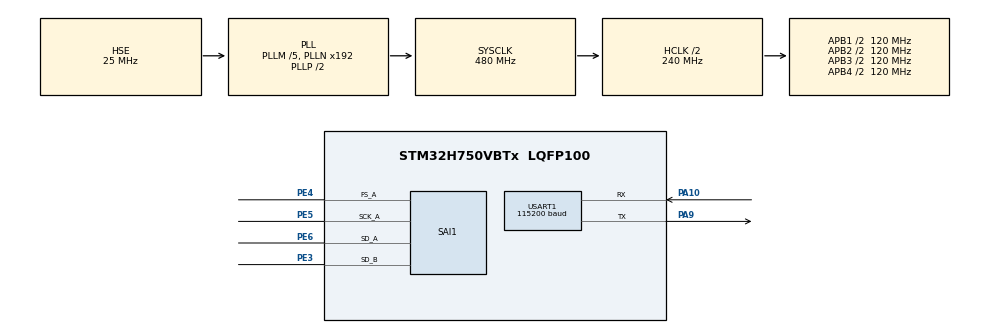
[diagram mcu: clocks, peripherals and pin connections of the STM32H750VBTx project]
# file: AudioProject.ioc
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CORTEX_M7.default_mode_Activation=1
Dma.Request0=SAI1_A
Dma.Request1=SAI1_B
Dma.Request2=USART1_TX
Dma.SAI1_A.0.Direction=DMA_MEMORY_TO_PERIPH
Dma.SAI1_A.0.EventEnable=DISABLE
Dma.SAI1_A.0.FIFOMode=DMA_FIFOMODE_DISABLE
Dma.SAI1_A.0.Instance=DMA1_Stream0
Dma.SAI1_A.0.MemDataAlignment=DMA_MDATAALIGN_WORD
Dma.SAI1_A.0.MemInc=DMA_MINC_ENABLE
Dma.SAI1_A.0.Mode=DMA_CIRCULAR
Dma.SAI1_A.0.PeriphDataAlignment=DMA_PDATAALIGN_WORD
Dma.SAI1_A.0.PeriphInc=DMA_PINC_DISABLE
Dma.SAI1_A.0.Polarity=HAL_DMAMUX_REQ_GEN_RISING
Dma.SAI1_A.0.Priority=DMA_PRIORITY_HIGH
Dma.SAI1_A.0.RequestNumber=1
Dma.SAI1_A.0.SignalID=NONE
Dma.SAI1_A.0.SyncEnable=DISABLE
Dma.SAI1_A.0.SyncPolarity=HAL_DMAMUX_SYNC_NO_EVENT
Dma.SAI1_A.0.SyncRequestNumber=1
Dma.SAI1_A.0.SyncSignalID=NONE
Dma.SAI1_B.1.Direction=DMA_PERIPH_TO_MEMORY
Dma.SAI1_B.1.EventEnable=DISABLE
Dma.SAI1_B.1.FIFOMode=DMA_FIFOMODE_DISABLE
Dma.SAI1_B.1.Instance=DMA1_Stream1
Dma.SAI1_B.1.MemDataAlignment=DMA_MDATAALIGN_WORD
Dma.SAI1_B.1.MemInc=DMA_MINC_ENABLE
Dma.SAI1_B.1.Mode=DMA_CIRCULAR
Dma.SAI1_B.1.PeriphDataAlignment=DMA_PDATAALIGN_WORD
Dma.SAI1_B.1.PeriphInc=DMA_PINC_DISABLE
Dma.SAI1_B.1.Polarity=HAL_DMAMUX_REQ_GEN_RISING
Dma.SAI1_B.1.Priority=DMA_PRIORITY_HIGH
Dma.SAI1_B.1.RequestNumber=1
Dma.SAI1_B.1.SignalID=NONE
Dma.SAI1_B.1.SyncEnable=DISABLE
Dma.SAI1_B.1.SyncPolarity=HAL_DMAMUX_SYNC_NO_EVENT
Dma.SAI1_B.1.SyncRequestNumber=1
Dma.SAI1_B.1.SyncSignalID=NONE
Dma.USART1_TX.2.Direction=DMA_MEMORY_TO_PERIPH
Dma.USART1_TX.2.EventEnable=DISABLE
Dma.USART1_TX.2.FIFOMode=DMA_FIFOMODE_DISABLE
Dma.USART1_TX.2.Instance=DMA1_Stream2
Dma.USART1_TX.2.MemDataAlignment=DMA_MDATAALIGN_BYTE
Dma.USART1_TX.2.MemInc=DMA_MINC_ENABLE
Dma.USART1_TX.2.Mode=DMA_NORMAL
Dma.USART1_TX.2.PeriphDataAlignment=DMA_PDATAALIGN_BYTE
Dma.USART1_TX.2.PeriphInc=DMA_PINC_DISABLE
Dma.USART1_TX.2.Polarity=HAL_DMAMUX_REQ_GEN_RISING
Dma.USART1_TX.2.Priority=DMA_PRIORITY_LOW
Dma.USART1_TX.2.RequestNumber=1
Dma.USART1_TX.2.SignalID=NONE
Dma.USART1_TX.2.SyncEnable=DISABLE
Dma.USART1_TX.2.SyncPolarity=HAL_DMAMUX_SYNC_NO_EVENT
Dma.USART1_TX.2.SyncRequestNumber=1
Dma.USART1_TX.2.SyncSignalID=NONE
Mcu.Family=STM32H7
Mcu.Name=STM32H750VBTx
Mcu.Package=LQFP100
NVIC.DMA1_Stream0_IRQn=true\:0\:0\:false\:false\:true\:false\:true\:true
NVIC.DMA1_Stream1_IRQn=true\:0\:0\:false\:false\:true\:false\:true\:true
NVIC.DMA1_Stream2_IRQn=true\:0\:0\:false\:false\:true\:false\:true\:true
NVIC.PriorityGroup=NVIC_PRIORITYGROUP_4
NVIC.SAI1_IRQn=true\:0\:0\:false\:false\:true\:true\:true\:true
NVIC.USART1_IRQn=true\:0\:0\:false\:false\:true\:true\:true\:true
PA10.Mode=Asynchronous
PA10.Signal=USART1_RX
PA9.Mode=Asynchronous
PA9.Signal=USART1_TX
PE3.Mode=SAI_B_SyncSlave
PE3.Signal=SAI1_SD_B
PE4.Mode=SAI_A_Master
PE4.Signal=SAI1_FS_A
PE5.Mode=SAI_A_Master
PE5.Signal=SAI1_SCK_A
PE6.Mode=SAI_A_Master
PE6.Signal=SAI1_SD_A
PH0-OSC_IN\ (PH0).Mode=HSE-External-Oscillator
PH0-OSC_IN\ (PH0).Signal=RCC_OSC_IN
PH1-OSC_OUT\ (PH1).Mode=HSE-External-Oscillator
PH1-OSC_OUT\ (PH1).Signal=RCC_OSC_OUT
ProjectManager.HeapSize=0x200
ProjectManager.StackSize=0x400
ProjectManager.TargetToolchain=STM32CubeIDE
RCC.ADCFreq_Value=50390625
RCC.APB1Freq_Value=120000000
RCC.APB2Freq_Value=120000000
RCC.APB3Freq_Value=120000000
RCC.APB4Freq_Value=120000000
RCC.CortexFreq_Value=480000000
RCC.D1PPRE=RCC_APB3_DIV2
RCC.D2PPRE1=RCC_APB1_DIV2
RCC.D2PPRE2=RCC_APB2_DIV2
RCC.D3PPRE=RCC_APB4_DIV2
RCC.DIVM1=5
RCC.DIVM3=5
RCC.DIVN1=192
RCC.DIVN3=49
RCC.DIVP3=20
RCC.DIVQ1=7
RCC.HCLKFreq_Value=240000000
RCC.HPRE=RCC_HCLK_DIV2
RCC.PLL2FRACN=0
RCC.PLL3FRACN=1245
RCC.PLLFRACN=0
RCC.PLLSourceVirtual=RCC_PLLSOURCE_HSE
RCC.SAI1CLockSelection=RCC_SAI1CLKSOURCE_PLL3
RCC.SYSCLKFreq_VALUE=480000000
RCC.SYSCLKSource=RCC_SYSCLKSOURCE_PLLCLK
RCC.USBFreq_Value=137142857.14285713
SAI1.AudioFrequency-SAI_A_Master=SAI_AUDIO_FREQUENCY_48K
SAI1.BasicDataSize-SAI_A_Master=SAI_PROTOCOL_DATASIZE_24BIT
SAI1.ErrorAudioFreq-SAI_A_Master=0.0 %
SAI1.InitProtocol-SAI_A_Master=Enable
SAI1.InitProtocol-SAI_B_SyncSlave=Enable
SAI1.Instance-SAI_A_Master=SAI$Index_Block_A
SAI1.Instance-SAI_B_SyncSlave=SAI$Index_Block_B
SAI1.MClockEnable=SAI_MASTERCLOCK_DISABLE
SAI1.OutputDrive-SAI_A_Master=SAI_OUTPUTDRIVE_ENABLE
SAI1.RealAudioFreq-SAI_A_Master=47.999 KHz
SAI1.VirtualMode-SAI_A_Master=VM_MASTER
SAI1.VirtualMode-SAI_B_SyncSlave=VM_SLAVE
SAI1.VirtualProtocol-SAI_A_BASIC=VM_BASIC_PROTOCOL
SAI1.VirtualProtocol-SAI_B_BASIC=VM_BASIC_PROTOCOL
USART1.BaudRate=115200
USART1.VirtualMode-Asynchronous=VM_ASYNC
VP_MEMORYMAP_VS_MEMORYMAP.Mode=CurAppReg
VP_SAI1_VP_$IpInstance_SAIA_SAI_BASIC.Mode=SAI_A_BASIC
VP_SAI1_VP_$IpInstance_SAIB_SAI_BASIC.Mode=SAI_B_BASIC
board=custom

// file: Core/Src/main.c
/* USER CODE BEGIN Header */
/**
  ******************************************************************************
  * @file           : main.c
  * @brief          : Main program body
  ******************************************************************************
  * @attention
  *
  * Copyright (c) 2025 STMicroelectronics.
  * All rights reserved.
  *
  * This software is licensed under terms that can be found in the LICENSE file
  * in the root directory of this software component.
  * If no LICENSE file comes with this software, it is provided AS-IS.
  *
  ******************************************************************************
  */
/* USER CODE END Header */
#include "main.h"

/* USER CODE BEGIN Includes */

#include <stdio.h>

/* USER CODE END Includes */

SAI_HandleTypeDef hsai_BlockA1;
SAI_HandleTypeDef hsai_BlockB1;
DMA_HandleTypeDef hdma_sai1_a;
DMA_HandleTypeDef hdma_sai1_b;

UART_HandleTypeDef huart1;

/* USER CODE BEGIN PV */

#define AUDIO_BUFFER_SIZE  2048

volatile uint32_t tx_cplt_count = 0; // Hitung berapa kali Transmit Selesai
volatile uint32_t rx_cplt_count = 0; // Hitung berapa kali Receive Selesai
volatile uint32_t err_count = 0;     // Hitung error

ALIGN_32BYTES (int32_t audioBuffer[AUDIO_BUFFER_SIZE]) __attribute__((section(".RAM_D2")));

/* USER CODE END PV */

void SystemClock_Config(void);
void PeriphCommonClock_Config(void);
static void MPU_Config(void);
static void MX_GPIO_Init(void);
static void MX_DMA_Init(void);
static void MX_USART1_UART_Init(void);
static void MX_SAI1_Init(void);

/* USER CODE BEGIN 0 */

// Override fungsi _write agar printf bisa mengirim karakter ke UART
int _write(int fd, char* ptr, int len) {
  // Hanya kirim ke UART jika tujuannya STDOUT atau STDERR
  if (fd == 1 || fd == 2) {
    for (int i = 0; i < len; i++) {
      // Jika ketemu \n, kirim \r dulu agar rapi di serial monitor
      if (ptr[i] == '\n') {
        uint8_t cr = '\r';
        HAL_UART_Transmit(&huart1, &cr, 1, 10);
      }
      // Kirim karakter aslinya
      HAL_UART_Transmit(&huart1, (uint8_t *)&ptr[i], 1, 10);
    }
    return len;
  }
  return -1;
}

/* USER CODE END 0 */

int main(void)
{

  /* MPU Configuration--------------------------------------------------------*/
  MPU_Config();

  /* MCU Configuration--------------------------------------------------------*/

  /* Reset of all peripherals, Initializes the Flash interface and the Systick. */
  HAL_Init();

  /* Configure the system clock */
  SystemClock_Config();

  /* Configure the peripherals common clocks */
  PeriphCommonClock_Config();

  /* Initialize all configured peripherals */
  MX_GPIO_Init();
  MX_DMA_Init();
  MX_USART1_UART_Init();
  MX_SAI1_Init();
  /* USER CODE BEGIN 2 */

  // 1. Pastikan Speaker Un-Mute (XSMT High) - Jika pin XSMT dikontrol GPIO
  // Karena Anda sudah jumper ke 3.3V, baris ini opsional, tapi bagus untuk memastikan
  // HAL_GPIO_WritePin(GPIOx, GPIO_PIN_x, GPIO_PIN_SET);

  // 2. Mulai Merekam dari Mic (SAI Block B) ke audioBuffer
  if(HAL_SAI_Receive_DMA(&hsai_BlockB1, (uint8_t*)audioBuffer, AUDIO_BUFFER_SIZE) != HAL_OK)
  {
    Error_Handler();
  }

  // 3. Mulai Memainkan ke Speaker (SAI Block A) dari audioBuffer yang sama
  // Karena Circular Mode, ini akan berjalan selamanya tanpa CPU
  if(HAL_SAI_Transmit_DMA(&hsai_BlockA1, (uint8_t*)audioBuffer, AUDIO_BUFFER_SIZE) != HAL_OK)
  {
    Error_Handler();
  }

  /* USER CODE END 2 */

  /* Infinite loop */
  /* USER CODE BEGIN WHILE */

  // Pastikan kita tahu kode masuk ke sini
  printf("Masuk ke Loop Utama...\r\n");

  uint32_t last_tx = 0;
  uint32_t last_rx = 0;

  while (1)
  {
    // 1. Ambil nilai counter saat ini
    uint32_t curr_tx = tx_cplt_count;
    uint32_t curr_rx = rx_cplt_count;

    // 2. Hitung selisih (berapa paket per detik)
    uint32_t diff_tx = curr_tx - last_tx;
    uint32_t diff_rx = curr_rx - last_rx;

    // 3. Simpan untuk putaran berikutnya
    last_tx = curr_tx;
    last_rx = curr_rx;

    // 4. Print Status
    // Format: [Waktu] TX: (Jml Paket) | RX: (Jml Paket) | Error: (Jml Error)
    printf("[%lu] TX:%lu | RX:%lu | Err:%lu\r\n", HAL_GetTick(), diff_tx, diff_rx, err_count);

    // 5. Analisis Cepat (Bantu Debugging)
    if (diff_rx == 0) printf("  (!) Mic Data Kosong (Cek Kabel SD/WS/SCK Mic)\r\n");
    if (diff_tx == 0) printf("  (!) Speaker Data Kosong (Cek DMA TX)\r\n");

    // 6. Delay 1 Detik (Menggunakan HAL_Delay lebih simpel untuk debug)
    HAL_Delay(1000);

    // Indikator Visual (Jika ada LED di board, misal PE3 atau PC13, nyalakan/matikan)
    // HAL_GPIO_TogglePin(GPIOE, GPIO_PIN_3);

    /* USER CODE END WHILE */

  }
}

void SystemClock_Config(void)
{
  RCC_OscInitTypeDef RCC_OscInitStruct = {0};
  RCC_ClkInitTypeDef RCC_ClkInitStruct = {0};

  /** Supply configuration update enable
  */
  HAL_PWREx_ConfigSupply(PWR_LDO_SUPPLY);

  /** Configure the main internal regulator output voltage
  */
  __HAL_PWR_VOLTAGESCALING_CONFIG(PWR_REGULATOR_VOLTAGE_SCALE0);

  while(!__HAL_PWR_GET_FLAG(PWR_FLAG_VOSRDY)) {}

  /** Initializes the RCC Oscillators according to the specified parameters
  * in the RCC_OscInitTypeDef structure.
  */
  RCC_OscInitStruct.OscillatorType = RCC_OSCILLATORTYPE_HSE;
  RCC_OscInitStruct.HSEState = RCC_HSE_ON;
  RCC_OscInitStruct.PLL.PLLState = RCC_PLL_ON;
  RCC_OscInitStruct.PLL.PLLSource = RCC_PLLSOURCE_HSE;
  RCC_OscInitStruct.PLL.PLLM = 5;
  RCC_OscInitStruct.PLL.PLLN = 192;
  RCC_OscInitStruct.PLL.PLLP = 2;
  RCC_OscInitStruct.PLL.PLLQ = 7;
  RCC_OscInitStruct.PLL.PLLR = 2;
  RCC_OscInitStruct.PLL.PLLRGE = RCC_PLL1VCIRANGE_2;
  RCC_OscInitStruct.PLL.PLLVCOSEL = RCC_PLL1VCOWIDE;
  RCC_OscInitStruct.PLL.PLLFRACN = 0;
  if (HAL_RCC_OscConfig(&RCC_OscInitStruct) != HAL_OK)
  {
    Error_Handler();
  }

  /** Initializes the CPU, AHB and APB buses clocks
  */
  RCC_ClkInitStruct.ClockType = RCC_CLOCKTYPE_HCLK|RCC_CLOCKTYPE_SYSCLK
                              |RCC_CLOCKTYPE_PCLK1|RCC_CLOCKTYPE_PCLK2
                              |RCC_CLOCKTYPE_D3PCLK1|RCC_CLOCKTYPE_D1PCLK1;
  RCC_ClkInitStruct.SYSCLKSource = RCC_SYSCLKSOURCE_PLLCLK;
  RCC_ClkInitStruct.SYSCLKDivider = RCC_SYSCLK_DIV1;
  RCC_ClkInitStruct.AHBCLKDivider = RCC_HCLK_DIV2;
  RCC_ClkInitStruct.APB3CLKDivider = RCC_APB3_DIV2;
  RCC_ClkInitStruct.APB1CLKDivider = RCC_APB1_DIV2;
  RCC_ClkInitStruct.APB2CLKDivider = RCC_APB2_DIV2;
  RCC_ClkInitStruct.APB4CLKDivider = RCC_APB4_DIV2;

  if (HAL_RCC_ClockConfig(&RCC_ClkInitStruct, FLASH_LATENCY_4) != HAL_OK)
  {
    Error_Handler();
  }
}

void PeriphCommonClock_Config(void)
{
  RCC_PeriphCLKInitTypeDef PeriphClkInitStruct = {0};

  /** Initializes the peripherals clock
  */
  PeriphClkInitStruct.PeriphClockSelection = RCC_PERIPHCLK_SAI1;
  PeriphClkInitStruct.PLL3.PLL3M = 5;
  PeriphClkInitStruct.PLL3.PLL3N = 49;
  PeriphClkInitStruct.PLL3.PLL3P = 20;
  PeriphClkInitStruct.PLL3.PLL3Q = 2;
  PeriphClkInitStruct.PLL3.PLL3R = 2;
  PeriphClkInitStruct.PLL3.PLL3RGE = RCC_PLL3VCIRANGE_2;
  PeriphClkInitStruct.PLL3.PLL3VCOSEL = RCC_PLL3VCOWIDE;
  PeriphClkInitStruct.PLL3.PLL3FRACN = 1245;
  PeriphClkInitStruct.Sai1ClockSelection = RCC_SAI1CLKSOURCE_PLL3;
  if (HAL_RCCEx_PeriphCLKConfig(&PeriphClkInitStruct) != HAL_OK)
  {
    Error_Handler();
  }
}

static void MX_SAI1_Init(void)
{

  hsai_BlockA1.Instance = SAI1_Block_A;
  hsai_BlockA1.Init.AudioMode = SAI_MODEMASTER_TX;
  hsai_BlockA1.Init.Synchro = SAI_ASYNCHRONOUS;
  hsai_BlockA1.Init.OutputDrive = SAI_OUTPUTDRIVE_ENABLE;
  hsai_BlockA1.Init.NoDivider = SAI_MCK_OVERSAMPLING_DISABLE;
  hsai_BlockA1.Init.MckOverSampling = SAI_MCK_OVERSAMPLING_DISABLE;
  hsai_BlockA1.Init.FIFOThreshold = SAI_FIFOTHRESHOLD_1QF;
  hsai_BlockA1.Init.AudioFrequency = SAI_AUDIO_FREQUENCY_48K;
  hsai_BlockA1.Init.SynchroExt = SAI_SYNCEXT_DISABLE;
  hsai_BlockA1.Init.MonoStereoMode = SAI_STEREOMODE;
  hsai_BlockA1.Init.CompandingMode = SAI_NOCOMPANDING;
  hsai_BlockA1.Init.TriState = SAI_OUTPUT_NOTRELEASED;
  if (HAL_SAI_InitProtocol(&hsai_BlockA1, SAI_I2S_STANDARD, SAI_PROTOCOL_DATASIZE_24BIT, 2) != HAL_OK)
  {
    Error_Handler();
  }
  hsai_BlockB1.Instance = SAI1_Block_B;
  hsai_BlockB1.Init.AudioMode = SAI_MODESLAVE_RX;
  hsai_BlockB1.Init.Synchro = SAI_SYNCHRONOUS;
  hsai_BlockB1.Init.OutputDrive = SAI_OUTPUTDRIVE_DISABLE;
  hsai_BlockB1.Init.MckOverSampling = SAI_MCK_OVERSAMPLING_DISABLE;
  hsai_BlockB1.Init.FIFOThreshold = SAI_FIFOTHRESHOLD_1QF;
  hsai_BlockB1.Init.SynchroExt = SAI_SYNCEXT_DISABLE;
  hsai_BlockB1.Init.MonoStereoMode = SAI_STEREOMODE;
  hsai_BlockB1.Init.CompandingMode = SAI_NOCOMPANDING;
  hsai_BlockB1.Init.TriState = SAI_OUTPUT_NOTRELEASED;
  if (HAL_SAI_InitProtocol(&hsai_BlockB1, SAI_I2S_STANDARD, SAI_PROTOCOL_DATASIZE_24BIT, 2) != HAL_OK)
  {
    Error_Handler();
  }

}

static void MX_USART1_UART_Init(void)
{

  huart1.Instance = USART1;
  huart1.Init.BaudRate = 115200;
  huart1.Init.WordLength = UART_WORDLENGTH_8B;
  huart1.Init.StopBits = UART_STOPBITS_1;
  huart1.Init.Parity = UART_PARITY_NONE;
  huart1.Init.Mode = UART_MODE_TX_RX;
  huart1.Init.HwFlowCtl = UART_HWCONTROL_NONE;
  huart1.Init.OverSampling = UART_OVERSAMPLING_16;
  huart1.Init.OneBitSampling = UART_ONE_BIT_SAMPLE_DISABLE;
  huart1.Init.ClockPrescaler = UART_PRESCALER_DIV1;
  huart1.AdvancedInit.AdvFeatureInit = UART_ADVFEATURE_NO_INIT;
  if (HAL_UART_Init(&huart1) != HAL_OK)
  {
    Error_Handler();
  }
  if (HAL_UARTEx_SetTxFifoThreshold(&huart1, UART_TXFIFO_THRESHOLD_1_8) != HAL_OK)
  {
    Error_Handler();
  }
  if (HAL_UARTEx_SetRxFifoThreshold(&huart1, UART_RXFIFO_THRESHOLD_1_8) != HAL_OK)
  {
    Error_Handler();
  }
  if (HAL_UARTEx_DisableFifoMode(&huart1) != HAL_OK)
  {
    Error_Handler();
  }

}

static void MX_DMA_Init(void)
{

  /* DMA controller clock enable */
  __HAL_RCC_DMA1_CLK_ENABLE();

  /* DMA interrupt init */
  /* DMA1_Stream0_IRQn interrupt configuration */
  HAL_NVIC_SetPriority(DMA1_Stream0_IRQn, 0, 0);
  HAL_NVIC_EnableIRQ(DMA1_Stream0_IRQn);
  /* DMA1_Stream1_IRQn interrupt configuration */
  HAL_NVIC_SetPriority(DMA1_Stream1_IRQn, 0, 0);
  HAL_NVIC_EnableIRQ(DMA1_Stream1_IRQn);

}

static void MX_GPIO_Init(void)
{

  /* GPIO Ports Clock Enable */
  __HAL_RCC_GPIOE_CLK_ENABLE();
  __HAL_RCC_GPIOH_CLK_ENABLE();
  __HAL_RCC_GPIOA_CLK_ENABLE();

}

/* USER CODE BEGIN 4 */

// Callback saat Pengiriman ke Speaker Selesai (Half & Full Transfer)
void HAL_SAI_TxCpltCallback(SAI_HandleTypeDef *hsai)
{
  tx_cplt_count++;
}

// Callback saat Perekaman dari Mic Selesai (Half & Full Transfer)
void HAL_SAI_RxCpltCallback(SAI_HandleTypeDef *hsai)
{
  rx_cplt_count++;
}

// Callback jika terjadi Error (Misal: Clock glitch, FIFO overrun)
void HAL_SAI_ErrorCallback(SAI_HandleTypeDef *hsai)
{
  err_count++;
  // Opsional: Nyalakan LED Error jika ada
  // HAL_GPIO_WritePin(LED_GPIO_Port, LED_Pin, GPIO_PIN_SET);
}

/* USER CODE END 4 */

 /* MPU Configuration */

void MPU_Config(void)
{
  MPU_Region_InitTypeDef MPU_InitStruct = {0};

  /* Disables the MPU */
  HAL_MPU_Disable();

  /** * KONFIGURASI 1: Default RAM (D1 Domain) - Write Through (Cache Aktif tapi aman)
   */
  MPU_InitStruct.Enable = MPU_REGION_ENABLE;
  MPU_InitStruct.Number = MPU_REGION_NUMBER0;
  MPU_InitStruct.BaseAddress = 0x24000000; // AXI SRAM (D1)
  MPU_InitStruct.Size = MPU_REGION_SIZE_512KB;
  MPU_InitStruct.SubRegionDisable = 0x0;
  MPU_InitStruct.TypeExtField = MPU_TEX_LEVEL0;
  MPU_InitStruct.AccessPermission = MPU_REGION_FULL_ACCESS;
  MPU_InitStruct.DisableExec = MPU_INSTRUCTION_ACCESS_ENABLE;
  MPU_InitStruct.IsShareable = MPU_ACCESS_SHAREABLE;
  MPU_InitStruct.IsCacheable = MPU_ACCESS_CACHEABLE;
  MPU_InitStruct.IsBufferable = MPU_ACCESS_NOT_BUFFERABLE;
  HAL_MPU_ConfigRegion(&MPU_InitStruct);

  /** * KONFIGURASI 2: D2 SRAM (Tempat Buffer Audio Kita)
   * SANGAT PENTING: CACHE DIMATIKAN DI SINI
   */
  MPU_InitStruct.Enable = MPU_REGION_ENABLE;
  MPU_InitStruct.Number = MPU_REGION_NUMBER1;
  MPU_InitStruct.BaseAddress = 0x30000000; // SRAM1, SRAM2, SRAM3 (D2 Domain)
  MPU_InitStruct.Size = MPU_REGION_SIZE_256KB; // Cover area D2
  MPU_InitStruct.SubRegionDisable = 0x0;
  MPU_InitStruct.TypeExtField = MPU_TEX_LEVEL1;
  MPU_InitStruct.AccessPermission = MPU_REGION_FULL_ACCESS;
  MPU_InitStruct.DisableExec = MPU_INSTRUCTION_ACCESS_ENABLE;
  MPU_InitStruct.IsShareable = MPU_ACCESS_NOT_SHAREABLE;
  MPU_InitStruct.IsCacheable = MPU_ACCESS_NOT_CACHEABLE; // CACHE OFF!
  MPU_InitStruct.IsBufferable = MPU_ACCESS_NOT_BUFFERABLE;
  HAL_MPU_ConfigRegion(&MPU_InitStruct);

  /* Enables the MPU */
  HAL_MPU_Enable(MPU_PRIVILEGED_DEFAULT);
}

void Error_Handler(void)
{
  __disable_irq();
  while (1)
  {
  }
}
